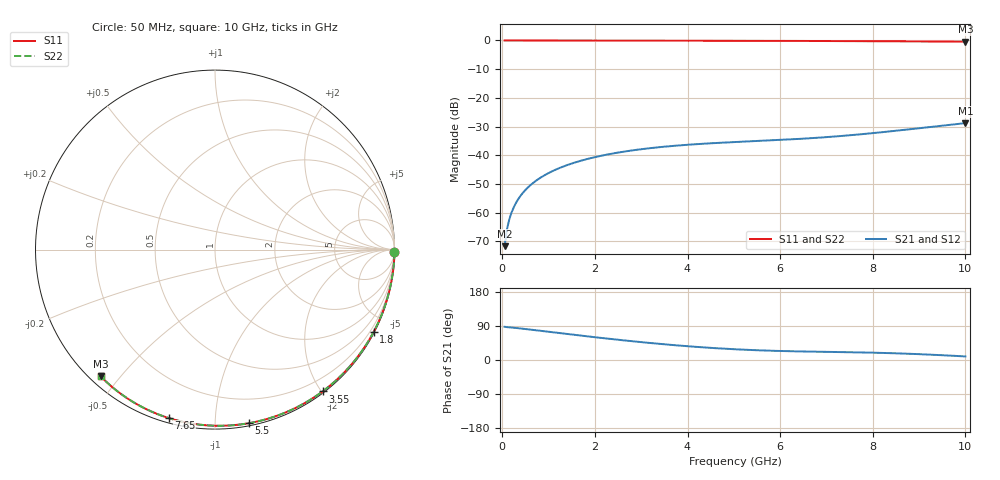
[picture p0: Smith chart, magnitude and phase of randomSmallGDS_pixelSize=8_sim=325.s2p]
! freq	dB(S11)	phase(S11)	dB(S12)	phase(S12)
!  dB(S21)	phase(S21)	dB(S22)	phase(S22)
!S-par simulation data
#  GHz  S  DB  R 50
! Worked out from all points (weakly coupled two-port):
!   200 points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, 50 MHz to 10 GHz, reference 50 ohm
!   highest |S21| = -28.80 dB at 10 GHz (marker M1); lowest = -71.6 dB at 50 MHz (marker M2)
!   lowest |S11| = -0.4 dB at 10 GHz (marker M3), VSWR 39.67, Z = 1.51 - j22.2 ohm
!   |S11| at or under -10 dB: nowhere
!   |S22| runs from -0.4 to 0.0 dB; largest |S21 - S12| = 0
!   S11 on the Smith chart (normalised r, x): 50 MHz: open; 1.8 GHz: 0.04, -4.10; 3.55 GHz: 0.02, -2.01; 5.5 GHz: 0.02, -1.21; 7.65 GHz: 0.02, -0.76; 10 GHz: 0.03, -0.44
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0.05  -0.00 -0.8  -71.64 87.7  -71.64 87.7  -0.00 -0.8
0.1  -0.00 -1.6  -65.80 86.7  -65.80 86.7  -0.00 -1.6
0.15  -0.00 -2.3  -62.37 86.2  -62.37 86.2  -0.00 -2.3
0.2  -0.00 -3.1  -59.92 85.7  -59.92 85.7  -0.00 -3.1
0.25  -0.00 -3.9  -58.01 85.1  -58.01 85.1  -0.00 -3.9
0.35  -0.00 -5.4  -55.12 83.8  -55.12 83.8  -0.00 -5.4
0.5  -0.01 -7.7  -52.06 81.8  -52.06 81.8  -0.01 -7.7
0.7  -0.01 -10.8  -49.18 78.9  -49.18 78.9  -0.01 -10.8
1  -0.02 -15.4  -46.17 74.5  -46.17 74.5  -0.02 -15.4
1.35  -0.03 -20.7  -43.70 69.4  -43.70 69.4  -0.03 -20.7
1.75  -0.03 -26.7  -41.65 63.6  -41.65 63.6  -0.03 -26.7
1.8  -0.03 -27.4  -41.43 62.9  -41.43 62.9  -0.03 -27.4
2.5  -0.05 -37.8  -39.05 53.4  -39.05 53.4  -0.05 -37.8
3.4  -0.07 -50.7  -37.15 42.5  -37.15 42.5  -0.07 -50.7
3.55  -0.07 -52.8  -36.92 40.9  -36.92 40.9  -0.07 -52.8
4.3  -0.09 -63.2  -36.00 33.7  -36.00 33.7  -0.09 -63.2
5.05  -0.11 -73.2  -35.36 28.2  -35.36 28.2  -0.11 -73.2
5.5  -0.13 -79.0  -35.02 25.7  -35.02 25.7  -0.13 -79.0
6.7  -0.18 -94.0  -34.00 22.0  -34.00 22.0  -0.18 -94.1
7.65  -0.24 -105.4  -32.81 20.2  -32.81 20.2  -0.24 -105.4
8.35  -0.28 -113.5  -31.70 18.2  -31.70 18.2  -0.28 -113.5
10  -0.44 -132.1  -28.80 9.5  -28.80 9.5  -0.44 -132.1
